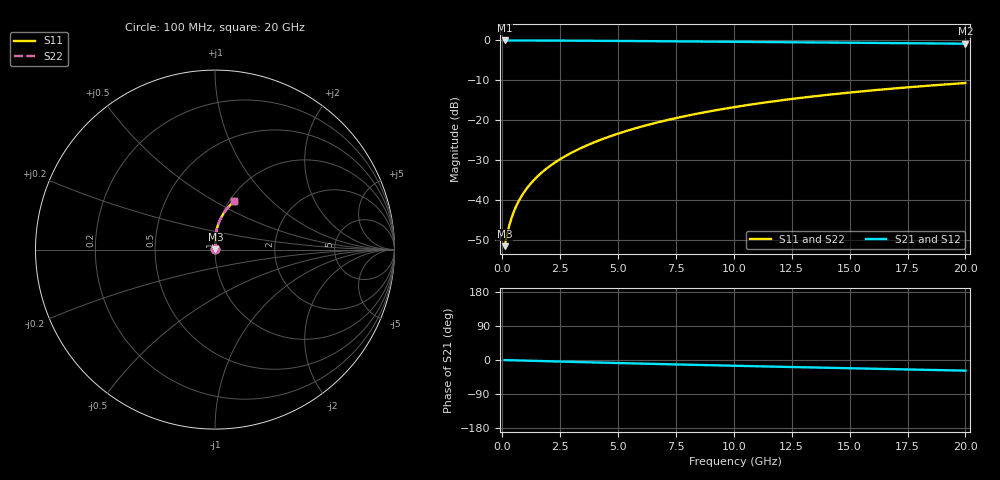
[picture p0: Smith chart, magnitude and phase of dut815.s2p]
! Touchstone file exported from HFSS 2024.1.0
!  File:  C:/UserFiles/LocalFiles/RDL_TSV_Batchsim/temp_RDL_top_815_1779854329.aedt
!  Generated:  12:01:05 PM May 27, 2026
!  Design:  RDL_top
!  Project:  temp_RDL_top_815_1779854329
!  Setup:  Setup1
!  Solution:  Sweep
! Variables:
!  dtsv = 10.80580581um
!  hbump = 3um
!  htsv = 59.18um
!  ldown = 100um
!  lrdl = 355.62um
!  p = 40
!  p1 = 55.84um
!  rhole = 1um
!  t = 450um
!  tdown = 3.915915916um
!  trdl = 2.68um
!  wdown = 15.38538539um
!  wrdl = 24.55um
# GHz S MA R 50.000000
! Terminal data exported
! Port[1] = Box2_T1
! Port[2] = Box2_T2
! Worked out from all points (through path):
!   200 points, 100 MHz to 20 GHz, reference 50 ohm
!   highest |S21| = -0.02 dB at 100 MHz (marker M1); lowest = -0.8 dB at 20 GHz (marker M2)
!   group delay of S21, straight-line fit = 3.85 ps
!   lowest |S11| = -51.6 dB at 100 MHz (marker M3), VSWR 1.01, Z = 50.2 + j0.141 ohm
!   |S11| at or under -10 dB: start of sweep to end of sweep
!   |S22| runs from -51.6 to -10.7 dB; largest |S21 - S12| = 2.7e-15
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0.1  0.002618 32.3  0.9978 -0.2  0.9978 -0.2  0.002618 32.3
! Gamma 0 0 0 0
! Port Impedance 50 0 50 0
0.2  0.003589 50.5  0.9977 -0.3  0.9977 -0.3  0.003589 50.5
0.3  0.004735 59.9  0.9976 -0.5  0.9976 -0.5  0.004735 59.9
0.4  0.005925 65.5  0.9974 -0.7  0.9974 -0.7  0.005926 65.5
0.5  0.007124 69.2  0.9973 -0.9  0.9973 -0.9  0.007124 69.2
0.6  0.008325 71.9  0.9971 -1.0  0.9971 -1.0  0.008325 71.9
0.8  0.01074 75.7  0.9969 -1.4  0.9969 -1.4  0.01074 75.7
1.1  0.01441 79.3  0.9964 -1.8  0.9964 -1.8  0.01441 79.3
1.3  0.01689 81.0  0.9961 -2.2  0.9961 -2.2  0.01689 81.0
1.6  0.02066 82.8  0.9955 -2.7  0.9955 -2.7  0.02066 82.8
2.1  0.02709 84.8  0.9944 -3.5  0.9944 -3.5  0.02709 84.8
2.7  0.03503 86.2  0.9928 -4.5  0.9928 -4.5  0.03503 86.2
3.5  0.04599 87.2  0.9901 -5.7  0.9901 -5.7  0.04599 87.2
4.2  0.05592 87.6  0.9874 -6.8  0.9874 -6.8  0.05592 87.6
5  0.06763 87.5  0.984 -8.0  0.984 -8.0  0.06763 87.5
5.9  0.08117 87.1  0.9799 -9.4  0.9799 -9.4  0.08117 87.1
6.8  0.095 86.4  0.9757 -10.7  0.9757 -10.7  0.095 86.4
8.4  0.12 84.6  0.9679 -13.0  0.9679 -13.0  0.12 84.6
10.1  0.1467 82.3  0.9595 -15.3  0.9595 -15.3  0.1467 82.3
13.4  0.1977 77.6  0.9429 -19.7  0.9429 -19.7  0.1977 77.6
16.7  0.2462 72.8  0.9259 -24.0  0.9259 -24.0  0.2462 72.8
20  0.2917 68.2  0.9084 -28.1  0.9084 -28.1  0.2917 68.2
